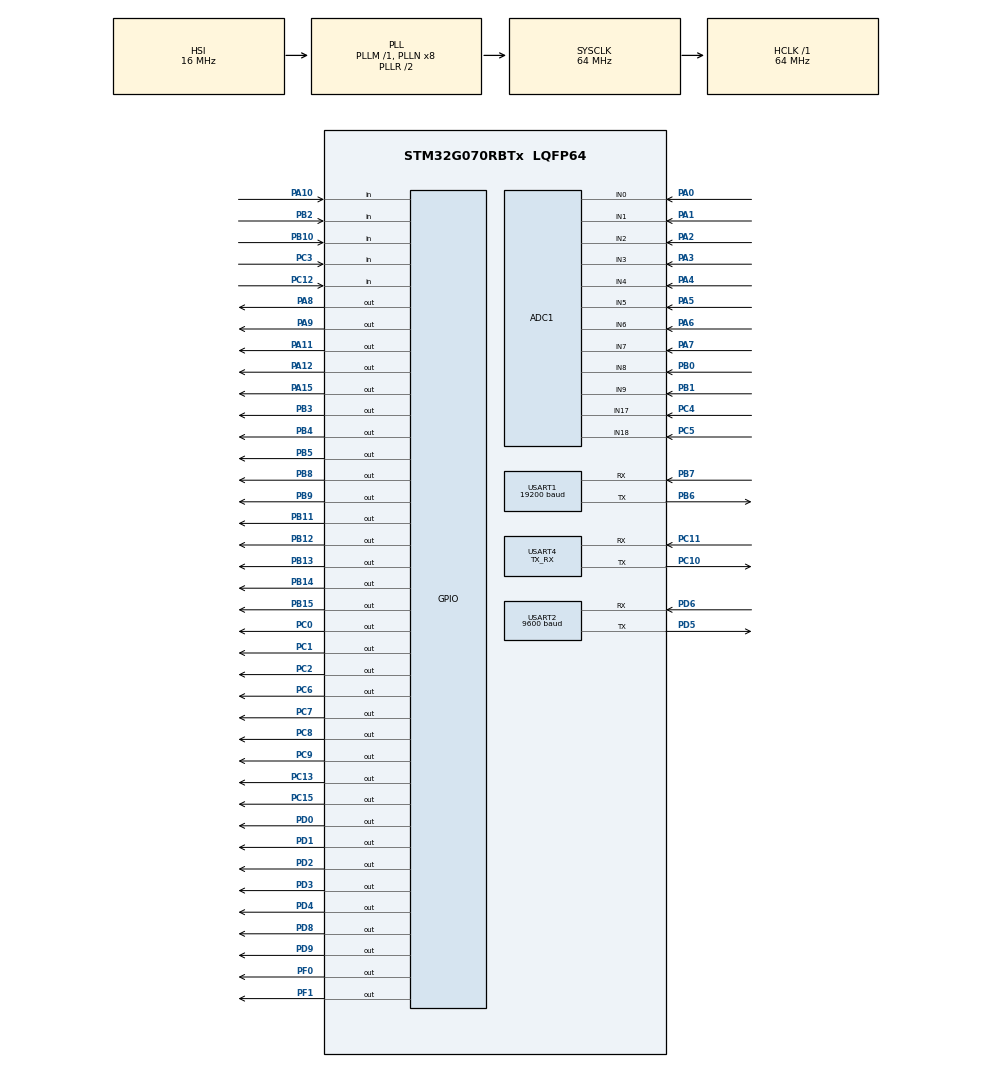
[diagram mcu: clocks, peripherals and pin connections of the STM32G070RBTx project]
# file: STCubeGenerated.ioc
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ADC1.ContinuousConvMode=ENABLE
ADC1.DMAContinuousRequests=DISABLE
ADC1.EOCSelection=ADC_EOC_SEQ_CONV
ADC1.NbrOfConversion=1
ADC1.NbrOfConversionFlag=0
ADC1.SelectedChannel=ADC_CHANNEL_0|ADC_CHANNEL_1|ADC_CHANNEL_2|ADC_CHANNEL_3|ADC_CHANNEL_4|ADC_CHANNEL_5|ADC_CHANNEL_6|ADC_CHANNEL_7|ADC_CHANNEL_8|ADC_CHANNEL_9|ADC_CHANNEL_17|ADC_CHANNEL_18
ADC1.Sequencer=NOT_FULLY_CONFIGURABLE
ADC1.master=1
Dma.ADC1.1.Direction=DMA_PERIPH_TO_MEMORY
Dma.ADC1.1.EventEnable=DISABLE
Dma.ADC1.1.Instance=DMA1_Channel2
Dma.ADC1.1.MemDataAlignment=DMA_MDATAALIGN_HALFWORD
Dma.ADC1.1.MemInc=DMA_MINC_ENABLE
Dma.ADC1.1.Mode=DMA_CIRCULAR
Dma.ADC1.1.PeriphDataAlignment=DMA_PDATAALIGN_HALFWORD
Dma.ADC1.1.PeriphInc=DMA_PINC_DISABLE
Dma.ADC1.1.Polarity=HAL_DMAMUX_REQ_GEN_RISING
Dma.ADC1.1.Priority=DMA_PRIORITY_LOW
Dma.ADC1.1.RequestNumber=1
Dma.ADC1.1.SignalID=NONE
Dma.ADC1.1.SyncEnable=DISABLE
Dma.ADC1.1.SyncPolarity=HAL_DMAMUX_SYNC_NO_EVENT
Dma.ADC1.1.SyncRequestNumber=1
Dma.ADC1.1.SyncSignalID=NONE
Dma.Request0=USART1_TX
Dma.Request1=ADC1
Dma.USART1_TX.0.Direction=DMA_MEMORY_TO_PERIPH
Dma.USART1_TX.0.EventEnable=DISABLE
Dma.USART1_TX.0.Instance=DMA1_Channel1
Dma.USART1_TX.0.MemDataAlignment=DMA_MDATAALIGN_BYTE
Dma.USART1_TX.0.MemInc=DMA_MINC_ENABLE
Dma.USART1_TX.0.Mode=DMA_NORMAL
Dma.USART1_TX.0.PeriphDataAlignment=DMA_PDATAALIGN_BYTE
Dma.USART1_TX.0.PeriphInc=DMA_PINC_DISABLE
Dma.USART1_TX.0.Polarity=HAL_DMAMUX_REQ_GEN_RISING
Dma.USART1_TX.0.Priority=DMA_PRIORITY_LOW
Dma.USART1_TX.0.RequestNumber=1
Dma.USART1_TX.0.SignalID=NONE
Dma.USART1_TX.0.SyncEnable=DISABLE
Dma.USART1_TX.0.SyncPolarity=HAL_DMAMUX_SYNC_NO_EVENT
Dma.USART1_TX.0.SyncRequestNumber=1
Dma.USART1_TX.0.SyncSignalID=NONE
IWDG.Prescaler=IWDG_PRESCALER_128
IWDG.Reload=800
Mcu.Family=STM32G0
Mcu.Name=STM32G070RBTx
Mcu.Package=LQFP64
NVIC.DMA1_Channel1_IRQn=true\:0\:0\:false\:false\:true\:false\:true
NVIC.DMA1_Channel2_3_IRQn=true\:0\:0\:false\:false\:true\:false\:true
NVIC.TIM14_IRQn=true\:0\:0\:false\:false\:true\:true\:true
NVIC.TIM6_IRQn=true\:0\:0\:false\:false\:true\:true\:true
NVIC.TIM7_IRQn=true\:3\:0\:false\:false\:true\:false\:true
NVIC.TimeBase=TIM7_IRQn
NVIC.TimeBaseIP=TIM7
NVIC.USART1_IRQn=true\:0\:0\:false\:false\:true\:true\:true
NVIC.USART2_IRQn=true\:0\:0\:false\:false\:true\:true\:true
NVIC.USART3_4_IRQn=true\:0\:0\:false\:false\:true\:true\:true
PA0.Mode=IN0
PA0.Signal=ADC1_IN0
PA1.Mode=IN1
PA1.Signal=ADC1_IN1
PA10.Signal=GPIO_Input
PA11\ [PA9].Signal=GPIO_Output
PA12\ [PA10].Signal=GPIO_Output
PA13.Mode=Serial_Wire
PA13.Signal=SYS_SWDIO
PA14-BOOT0.Mode=Serial_Wire
PA14-BOOT0.Signal=SYS_SWCLK
PA15.Signal=GPIO_Output
PA2.Mode=IN2
PA2.Signal=ADC1_IN2
PA3.Mode=IN3
PA3.Signal=ADC1_IN3
PA4.Mode=IN4
PA4.Signal=ADC1_IN4
PA5.Mode=IN5
PA5.Signal=ADC1_IN5
PA6.Mode=IN6
PA6.Signal=ADC1_IN6
PA7.Mode=IN7
PA7.Signal=ADC1_IN7
PA8.Signal=GPIO_Output
PA9.Signal=GPIO_Output
PB0.Mode=IN8
PB0.Signal=ADC1_IN8
PB1.Mode=IN9
PB1.Signal=ADC1_IN9
PB10.Signal=GPIO_Input
PB11.Signal=GPIO_Output
PB12.Signal=GPIO_Output
PB13.Signal=GPIO_Output
PB14.Signal=GPIO_Output
PB15.Signal=GPIO_Output
PB2.Signal=GPIO_Input
PB3.Signal=GPIO_Output
PB4.Signal=GPIO_Output
PB5.Signal=GPIO_Output
PB6.Mode=Asynchronous
PB6.Signal=USART1_TX
PB7.Mode=Asynchronous
PB7.Signal=USART1_RX
PB8.Signal=GPIO_Output
PB9.Signal=GPIO_Output
PC0.Signal=GPIO_Output
PC1.Signal=GPIO_Output
PC10.Mode=Asynchronous
PC10.Signal=USART4_TX
PC11.Mode=Asynchronous
PC11.Signal=USART4_RX
PC12.Signal=GPIO_Input
PC13.Signal=GPIO_Output
PC15-OSC32_OUT\ (PC15).Signal=GPIO_Output
PC2.Signal=GPIO_Output
PC3.Signal=GPIO_Input
PC4.Mode=IN17
PC4.Signal=ADC1_IN17
PC5.Mode=IN18
PC5.Signal=ADC1_IN18
PC6.Signal=GPIO_Output
PC7.Signal=GPIO_Output
PC8.Signal=GPIO_Output
PC9.Signal=GPIO_Output
PD0.Signal=GPIO_Output
PD1.Signal=GPIO_Output
PD2.Signal=GPIO_Output
PD3.Signal=GPIO_Output
PD4.Signal=GPIO_Output
PD5.Mode=Asynchronous
PD5.Signal=USART2_TX
PD6.Mode=Asynchronous
PD6.Signal=USART2_RX
PD8.Signal=GPIO_Output
PD9.Signal=GPIO_Output
PF0-OSC_IN\ (PF0).Signal=GPIO_Output
PF1-OSC_OUT\ (PF1).Signal=GPIO_Output
ProjectManager.HeapSize=0x200
ProjectManager.StackSize=0x400
ProjectManager.TargetToolchain=MDK-ARM V5
RCC.ADCFreq_Value=64000000
RCC.AHBFreq_Value=64000000
RCC.CortexFreq_Value=64000000
RCC.EXTERNAL_CLOCK_VALUE=48000
RCC.HCLKFreq_Value=64000000
RCC.HSE_VALUE=8000000
RCC.HSI_VALUE=16000000
RCC.LSE_VALUE=32768
RCC.SYSCLKFreq_VALUE=64000000
RCC.SYSCLKSource=RCC_SYSCLKSOURCE_PLLCLK
RCC.VCOOutputFreq_Value=128000000
TIM14.AutoReloadPreload=TIM_AUTORELOAD_PRELOAD_ENABLE
TIM14.Period=10000
TIM14.Prescaler=39
TIM3.Prescaler=63
TIM6.AutoReloadPreload=TIM_AUTORELOAD_PRELOAD_DISABLE
TIM6.Period=40
TIM6.Prescaler=3199
USART1.BaudRate=19200
USART1.FIFOMode=FIFOMODE_ENABLE
USART1.VirtualMode-Asynchronous=VM_ASYNC
USART2.BaudRate=9600
USART2.FIFOMode=FIFOMODE_ENABLE
USART2.VirtualMode-Asynchronous=VM_ASYNC
USART4.Mode=MODE_TX_RX
USART4.VirtualMode-Asynchronous=VM_ASYNC
VP_IWDG_VS_IWDG.Mode=IWDG_Activate
VP_SYS_VS_DBSignals.Mode=DisableDeadBatterySignals
VP_SYS_VS_tim7.Mode=TIM7
VP_TIM14_VS_ClockSourceINT.Mode=Enable_Timer
VP_TIM3_VS_ClockSourceINT.Mode=Internal
VP_TIM6_VS_ClockSourceINT.Mode=Enable_Timer
board=custom

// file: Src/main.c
/* USER CODE BEGIN Header */
/**
  ******************************************************************************
  * @file           : main.c
  * @brief          : Main program body
  ******************************************************************************
  * @attention
  *
  * <h2><center>&copy; Copyright (c) 2022 STMicroelectronics.
  * All rights reserved.</center></h2>
  *
  * This software component is licensed by ST under BSD 3-Clause license,
  * the "License"; You may not use this file except in compliance with the
  * License. You may obtain a copy of the License at:
  *                        opensource.org/licenses/BSD-3-Clause
  *
  ******************************************************************************
  */
/* USER CODE END Header */
#include "main.h"
#include "adc.h"
#include "dma.h"
#include "iwdg.h"
#include "tim.h"
#include "usart.h"
#include "gpio.h"

/* USER CODE BEGIN Includes */
#define osObjectsPublic  // define objects in main module
#include "osObjects.h"   // RTOS object definitions
#include "Drv_Led.h"
#include <stdio.h>
#include "Drv_DIO.h"
/* USER CODE END Includes */

void SystemClock_Config(void);
/* USER CODE BEGIN PFP */
extern void prvvTIMERExpiredISR(void);
/* USER CODE END PFP */

int main(void)
{

  /* MCU Configuration--------------------------------------------------------*/

  /* Reset of all peripherals, Initializes the Flash interface and the Systick. */
  HAL_Init();

  /* Configure the system clock */
  SystemClock_Config();

  /* Initialize all configured peripherals */
  MX_DMA_Init();
  MX_GPIO_Init();
  MX_ADC1_Init();
  MX_IWDG_Init();
  MX_TIM14_Init();
  MX_TIM6_Init();
  MX_USART1_UART_Init();
  MX_USART2_UART_Init();
  MX_USART4_UART_Init();
  MX_TIM3_Init();
  /* USER CODE BEGIN 2 */
    Init_Thread();
  /* USER CODE END 2 */

  /* Infinite loop */
  /* USER CODE BEGIN WHILE */
  printf("main->BackGround_proc\r\n");
  BackGround_proc();
  while (1)
  {
    HAL_GPIO_TogglePin(GPIOC, GPIO_PIN_13);      // suspend thread
    HAL_IWDG_Refresh(&hiwdg);
    /* USER CODE END WHILE */

  }
}

void SystemClock_Config(void)
{
  RCC_OscInitTypeDef RCC_OscInitStruct = {0};
  RCC_ClkInitTypeDef RCC_ClkInitStruct = {0};

  /** Configure the main internal regulator output voltage
  */
  HAL_PWREx_ControlVoltageScaling(PWR_REGULATOR_VOLTAGE_SCALE1);
  /** Initializes the RCC Oscillators according to the specified parameters
  * in the RCC_OscInitTypeDef structure.
  */
  RCC_OscInitStruct.OscillatorType = RCC_OSCILLATORTYPE_HSI|RCC_OSCILLATORTYPE_LSI;
  RCC_OscInitStruct.HSIState = RCC_HSI_ON;
  RCC_OscInitStruct.HSIDiv = RCC_HSI_DIV1;
  RCC_OscInitStruct.HSICalibrationValue = RCC_HSICALIBRATION_DEFAULT;
  RCC_OscInitStruct.LSIState = RCC_LSI_ON;
  RCC_OscInitStruct.PLL.PLLState = RCC_PLL_ON;
  RCC_OscInitStruct.PLL.PLLSource = RCC_PLLSOURCE_HSI;
  RCC_OscInitStruct.PLL.PLLM = RCC_PLLM_DIV1;
  RCC_OscInitStruct.PLL.PLLN = 8;
  RCC_OscInitStruct.PLL.PLLP = RCC_PLLP_DIV2;
  RCC_OscInitStruct.PLL.PLLR = RCC_PLLR_DIV2;
  if (HAL_RCC_OscConfig(&RCC_OscInitStruct) != HAL_OK)
  {
    Error_Handler();
  }
  /** Initializes the CPU, AHB and APB buses clocks
  */
  RCC_ClkInitStruct.ClockType = RCC_CLOCKTYPE_HCLK|RCC_CLOCKTYPE_SYSCLK
                              |RCC_CLOCKTYPE_PCLK1;
  RCC_ClkInitStruct.SYSCLKSource = RCC_SYSCLKSOURCE_PLLCLK;
  RCC_ClkInitStruct.AHBCLKDivider = RCC_SYSCLK_DIV1;
  RCC_ClkInitStruct.APB1CLKDivider = RCC_HCLK_DIV1;

  if (HAL_RCC_ClockConfig(&RCC_ClkInitStruct, FLASH_LATENCY_2) != HAL_OK)
  {
    Error_Handler();
  }
}

void HAL_TIM_PeriodElapsedCallback(TIM_HandleTypeDef *htim)
{
  if (htim->Instance == TIM7) {
    HAL_IncTick();
  }
  /* USER CODE BEGIN Callback 1 */
  if (htim->Instance == TIM6) {
    prvvTIMERExpiredISR();
  }
  if (htim->Instance == TIM14) {
    Sync_Di_timeout();
  }
  /* USER CODE END Callback 1 */
}

void Error_Handler(void)
{
  __disable_irq();
  while (1)
  {
  }
}
